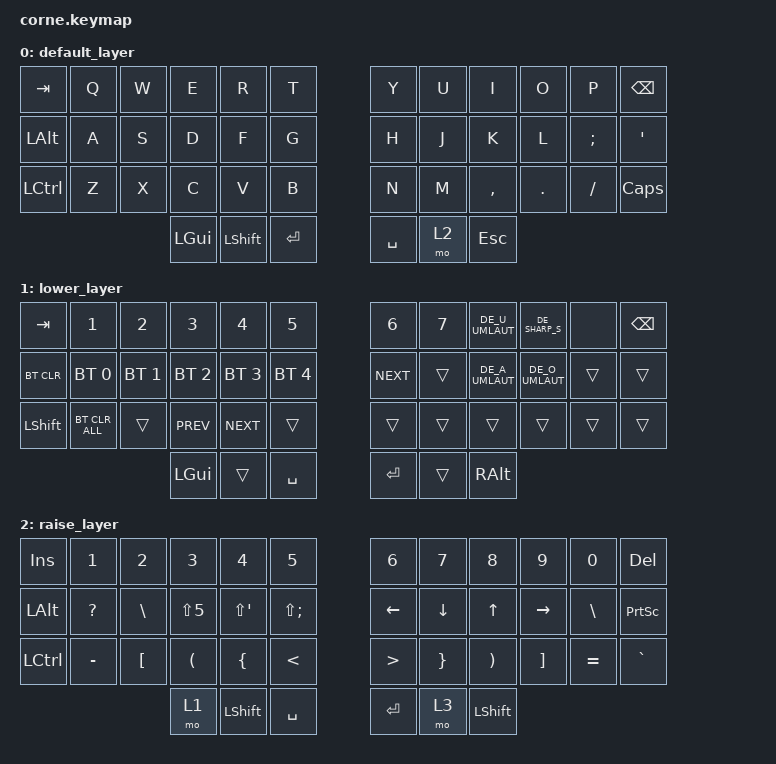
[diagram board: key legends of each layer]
#include <behaviors.dtsi>
#include <dt-bindings/zmk/keys.h>
#include <dt-bindings/zmk/bt.h>
#include <locale/keys_de.h>

/ {
    keymap {
        compatible = "zmk,keymap";

        default_layer {
            bindings = <
/* LEFT side keys: Row1-6, Row2-6, Row3-6, Thumb1-3 */
 &kp TAB   &kp Q &kp W &kp E &kp R &kp T   &kp Y &kp U  &kp I     &kp O   &kp P    &kp BSPC
 &kp LALT  &kp A &kp S &kp D &kp F &kp G   &kp H &kp J  &kp K     &kp L   &kp SEMI &kp SQT
 &kp LCTRL  &kp Z &kp X &kp C &kp V &kp B   &kp N &kp M  &kp COMMA &kp DOT &kp FSLH &kp CAPSLOCK
/* Thumbs: L1, L2, L3, R1, R2, R3 */
 &kp LGUI &kp LSHFT &kp RET &kp SPACE &mo 2 &kp ESC
            >;
        };

        lower_layer {
            bindings = <
/* LEFT side keys */
 &kp TAB    &kp N1       &kp N2       &kp N3       &kp N4       &kp N5         &kp N6   &kp N7   &kp DE_U_UMLAUT &kp DE_SHARP_S &none  &kp BSPC
 &bt BT_CLR &bt BT_SEL 0 &bt BT_SEL 1 &bt BT_SEL 2 &bt BT_SEL 3 &bt BT_SEL 4   &kp C_NEXT &trans &kp DE_A_UMLAUT &kp DE_O_UMLAUT &trans &trans
 &kp LSHFT  &bt BT_CLR_ALL  &trans  &kp C_PREV    &kp C_NEXT  &trans  &trans   &trans   &trans &trans    &trans &trans
/* Thumbs: L1, L2, L3, R1, R2, R3 */
 &kp LGUI &trans &kp SPACE &kp RET &trans &kp RALT
            >;
        };

       raise_layer {
            bindings = <
              /* LEFT side keys */
 &kp INSERT    &kp N1  &kp N2 &kp N3 &kp N4 &kp N5 &kp N6 &kp N7 &kp N8 &kp N9 &kp N0 &kp DEL
 &kp LALT  &kp QMARK &kp BSLH &kp LS(N5) &kp LS(APOS) &kp LS(SEMI)  &kp LEFT &kp DOWN &kp UP &kp RIGHT &kp BSLH &kp PSCRN
 &kp LCTRL  &kp MINUS &kp LBKT &kp LPAR &kp LBRC &kp LT  &kp GT &kp RBRC &kp RPAR &kp RBKT &kp EQUAL &kp GRAVE
/* Thumbs: L1, L2, L3, R1, R2, R3 */
 &mo 1 &kp LSHIFT  &kp SPACE &kp ENTER &mo 3 &kp LSHIFT
            >;
        };


    };
};
